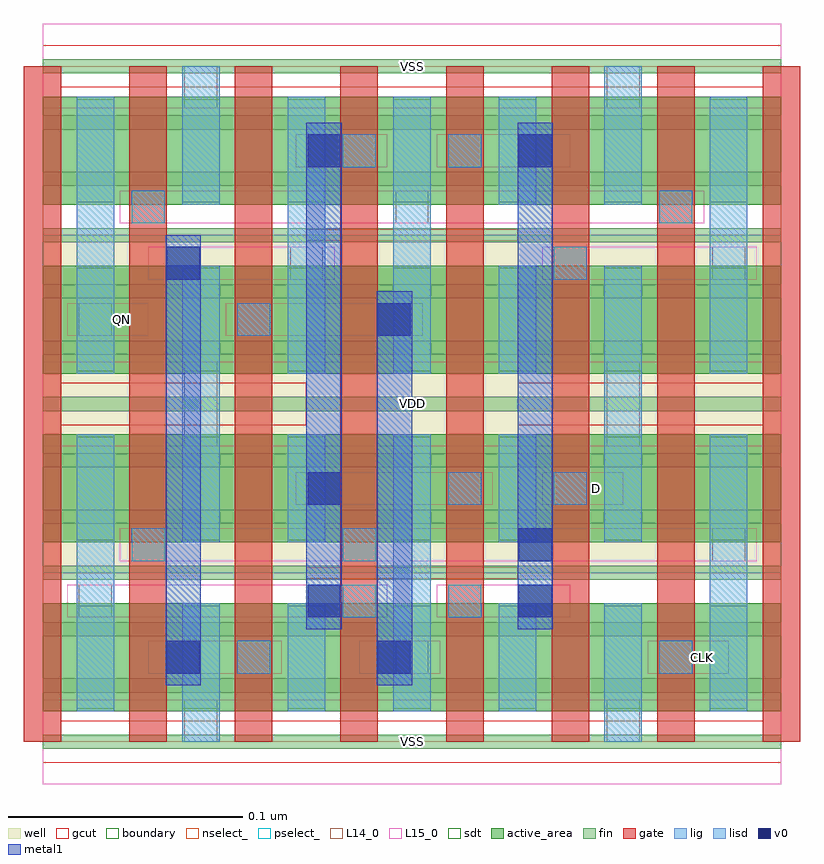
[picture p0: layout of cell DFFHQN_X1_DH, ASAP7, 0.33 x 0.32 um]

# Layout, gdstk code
import gdstk
lib = gdstk.Library(unit=1e-6, precision=2.5e-10)
def R(c, l, rs):  # rectangles x0, y0, x1, y1
    for r in rs: c.add(gdstk.rectangle(r[:2], r[2:], *l))
def A(c, l, x, y, w, h, nx, ny, dx, dy):  # array of equal rectangles
    R(c, l, [(x+i*dx, y+j*dy, x+i*dx+w, y+j*dy+h) for i in range(nx) for j in range(ny)])
def P(c, l, *ps):  # polygons
    for p in ps: c.add(gdstk.Polygon(p, *l))
well = (1, 0)
fin = (2, 0)
gate = (7, 0)
gcut = (10, 0)
active_area = (11, 0)
nselect_ = (12, 0)
pselect_ = (13, 0)
L14_0 = (14, 0)
L15_0 = (15, 0)
lig = (16, 0)
lisd = (17, 0)
v0 = (18, 0)
metal1 = (19, 0)
sdt = (88, 0)
boundary = (100, 0)

dffhqn_x1_dh = lib.new_cell('DFFHQN_X1_DH')
R(dffhqn_x1_dh, well, [(0,0.072,0.315,0.144), (0,0.144,0.315,0.216)])
A(dffhqn_x1_dh, fin, 0, -0.003, 0.315, 0.006, 1, 13, 0, 0.024)
A(dffhqn_x1_dh, gate, -0.008, 0, 0.016, 0.288, 8, 1, 0.045, 0)
R(dffhqn_x1_dh, gcut, [(0.1125,0.0695,0.2025,0.0745), (0.1125,0.2135,0.2025,0.2185)])
P(dffhqn_x1_dh, gcut, [(0,-0.009),(0,0),(-0.008,0),(-0.008,0.279),(0.008,0.279),(0.008,0.153),(0.1125,0.153),(0.1125,0.135),(0.008,0.135),(0.008,0.009),(0.307,0.009),(0.307,0.135),(0.2025,0.135),(0.2025,0.153),(0.307,0.153),(0.307,0.279),(-0.008,0.279),(-0.008,0.288),(0,0.288),(0,0.297),(0.315,0.297),(0.315,0.288),(0.323,0.288),(0.323,0),(0.315,0),(0.315,-0.009)])
A(dffhqn_x1_dh, active_area, 0, 0.013, 0.315, 0.046, 1, 4, 0, 0.072)
R(dffhqn_x1_dh, nselect_, [(0,0,0.315,0.072), (0,0.216,0.315,0.288)])
R(dffhqn_x1_dh, pselect_, [(0,0.072,0.315,0.144), (0,0.144,0.315,0.216)])
A(dffhqn_x1_dh, L14_0, 0.038, 0.221, 0.014, 0.014, 3, 1, 0.1125, 0)
R(dffhqn_x1_dh, L14_0, [(0.0605,0,0.0745,0.018), (0.2405,0,0.2545,0.018), (0.083,0.029,0.097,0.043), (0.1505,0.029,0.1645,0.043), (0.263,0.029,0.277,0.043), (0.0155,0.053,0.0295,0.067), (0.128,0.053,0.142,0.067), (0.173,0.053,0.187,0.067), (0.038,0.077,0.052,0.091), (0.128,0.077,0.142,0.091), (0.2855,0.077,0.2995,0.091), (0.173,0.101,0.187,0.115), (0.218,0.101,0.232,0.115), (0.0605,0.126,0.0745,0.144), (0.2405,0.126,0.2545,0.144), (0.0605,0.144,0.0745,0.162), (0.2405,0.144,0.2545,0.162), (0.0155,0.173,0.0295,0.187), (0.083,0.173,0.097,0.187), (0.1055,0.197,0.1195,0.211), (0.218,0.197,0.232,0.211), (0.2855,0.197,0.2995,0.211), (0.128,0.245,0.142,0.259), (0.173,0.245,0.187,0.259), (0.0605,0.27,0.0745,0.288), (0.2405,0.27,0.2545,0.288)])
A(dffhqn_x1_dh, L15_0, 0, -0.018, 0.315, 0.036, 1, 3, 0, 0.144)
R(dffhqn_x1_dh, L15_0, [(0.045,0.029,0.102,0.043), (0.135,0.029,0.1695,0.043), (0.258,0.029,0.2925,0.043), (0.0105,0.053,0.147,0.067), (0.168,0.053,0.225,0.067), (0.033,0.077,0.3045,0.091), (0.108,0.101,0.192,0.115), (0.213,0.101,0.2475,0.115), (0.0105,0.173,0.045,0.187), (0.078,0.173,0.162,0.187), (0.045,0.197,0.1245,0.211), (0.213,0.197,0.3045,0.211), (0.033,0.221,0.282,0.235), (0.108,0.245,0.147,0.259), (0.168,0.245,0.225,0.259)])
R(dffhqn_x1_dh, lig, [(0.083,0.029,0.097,0.043), (0.263,0.029,0.277,0.043), (0.128,0.053,0.142,0.067), (0.173,0.053,0.187,0.067), (0.038,0.077,0.052,0.091), (0.128,0.077,0.142,0.091), (0.173,0.101,0.187,0.115), (0.218,0.101,0.232,0.115), (0.083,0.173,0.097,0.187), (0.218,0.197,0.232,0.211), (0.038,0.221,0.052,0.235), (0.263,0.221,0.277,0.235), (0.128,0.245,0.142,0.259), (0.173,0.245,0.187,0.259)])
A(dffhqn_x1_dh, lisd, 0.0145, 0.013, 0.016, 0.118, 3, 1, 0.135, 0)
A(dffhqn_x1_dh, lisd, 0.1945, 0.013, 0.016, 0.046, 1, 4, 0, 0.072)
R(dffhqn_x1_dh, lisd, [(0.0595,0,0.0755,0.059), (0.2395,0,0.2555,0.059), (0.1045,0.013,0.1205,0.059), (0.0595,0.085,0.0755,0.203), (0.1045,0.085,0.1205,0.131), (0.2395,0.085,0.2555,0.203), (0.0145,0.157,0.0305,0.275), (0.1045,0.157,0.1205,0.275), (0.1495,0.157,0.1655,0.275), (0.2845,0.157,0.3005,0.275), (0.0595,0.229,0.0755,0.288), (0.2395,0.229,0.2555,0.288)])
R(dffhqn_x1_dh, v0, [(0.053,0.029,0.067,0.043), (0.143,0.029,0.157,0.043), (0.113,0.053,0.127,0.067), (0.203,0.053,0.217,0.067), (0.203,0.077,0.217,0.091), (0.113,0.101,0.127,0.115), (0.143,0.173,0.157,0.187), (0.053,0.197,0.067,0.211), (0.113,0.245,0.127,0.259), (0.203,0.245,0.217,0.259)])
R(dffhqn_x1_dh, metal1, [(0.0525,0.024,0.0675,0.216), (0.1425,0.024,0.1575,0.192), (0.1125,0.048,0.1275,0.264), (0.2025,0.048,0.2175,0.264)])
A(dffhqn_x1_dh, sdt, 0.0145, 0.014, 0.016, 0.044, 7, 4, 0.045, 0.072)
R(dffhqn_x1_dh, boundary, [(0,0,0.315,0.288)])
dffhqn_x1_dh.add(gdstk.Label('CLK', (0.2813,0.036), layer=15, texttype=251))
dffhqn_x1_dh.add(gdstk.Label('VSS', (0.1575,0), layer=15, texttype=251))
dffhqn_x1_dh.add(gdstk.Label('VDD', (0.1575,0.144), layer=15, texttype=251))
dffhqn_x1_dh.add(gdstk.Label('VDD', (0.1575,0.144), layer=15, texttype=251))
dffhqn_x1_dh.add(gdstk.Label('VSS', (0.1575,0.288), layer=15, texttype=251))
dffhqn_x1_dh.add(gdstk.Label('QN', (0.0338,0.18), layer=15, texttype=251))
dffhqn_x1_dh.add(gdstk.Label('VSS', (0.1575,0), layer=15, texttype=251))
dffhqn_x1_dh.add(gdstk.Label('VDD', (0.1575,0.144), layer=15, texttype=251))
dffhqn_x1_dh.add(gdstk.Label('VDD', (0.1575,0.144), layer=15, texttype=251))
dffhqn_x1_dh.add(gdstk.Label('VSS', (0.1575,0.288), layer=15, texttype=251))
dffhqn_x1_dh.add(gdstk.Label('D', (0.2363,0.108), layer=15, texttype=251))
dffhqn_x1_dh.add(gdstk.Label('VSS', (0.1575,0), layer=15, texttype=251))
dffhqn_x1_dh.add(gdstk.Label('VDD', (0.1575,0.144), layer=15, texttype=251))
dffhqn_x1_dh.add(gdstk.Label('VDD', (0.1575,0.144), layer=15, texttype=251))
dffhqn_x1_dh.add(gdstk.Label('VSS', (0.1575,0.288), layer=15, texttype=251))
dffhqn_x1_dh.add(gdstk.Label('VSS', (0.1575,0), layer=3, texttype=251))
dffhqn_x1_dh.add(gdstk.Label('VSS', (0.1575,0.288), layer=3, texttype=251))
dffhqn_x1_dh.add(gdstk.Label('VSS', (0.1575,0), layer=3, texttype=251))
dffhqn_x1_dh.add(gdstk.Label('VSS', (0.1575,0.288), layer=3, texttype=251))
dffhqn_x1_dh.add(gdstk.Label('VSS', (0.1575,0), layer=3, texttype=251))
dffhqn_x1_dh.add(gdstk.Label('VSS', (0.1575,0.288), layer=3, texttype=251))
dffhqn_x1_dh.add(gdstk.Label('VDD', (0.1575,0.144), layer=1, texttype=251))
dffhqn_x1_dh.add(gdstk.Label('VDD', (0.1575,0.144), layer=1, texttype=251))
dffhqn_x1_dh.add(gdstk.Label('VDD', (0.1575,0.144), layer=1, texttype=251))
dffhqn_x1_dh.add(gdstk.Label('VDD', (0.1575,0.144), layer=1, texttype=251))
dffhqn_x1_dh.add(gdstk.Label('VDD', (0.1575,0.144), layer=1, texttype=251))
dffhqn_x1_dh.add(gdstk.Label('VDD', (0.1575,0.144), layer=1, texttype=251))

lib.write_gds('DFFHQN_X1_DH.gds')
